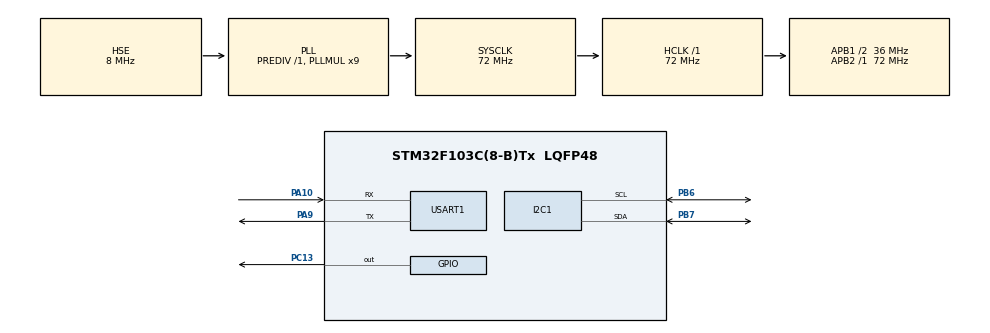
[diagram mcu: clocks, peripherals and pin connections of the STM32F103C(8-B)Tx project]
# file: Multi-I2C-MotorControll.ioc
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I2C1.I2C_Mode=I2C_Standard
Mcu.Family=STM32F1
Mcu.Name=STM32F103C(8-B)Tx
Mcu.Package=LQFP48
NVIC.I2C1_EV_IRQn=true\:0\:0\:false\:false\:true\:true\:true\:true
NVIC.PriorityGroup=NVIC_PRIORITYGROUP_4
PA10.Mode=Asynchronous
PA10.Signal=USART1_RX
PA9.Mode=Asynchronous
PA9.Signal=USART1_TX
PB6.Mode=I2C
PB6.Signal=I2C1_SCL
PB7.Mode=I2C
PB7.Signal=I2C1_SDA
PC13-TAMPER-RTC.Signal=GPIO_Output
PC14-OSC32_IN.Signal=RCC_OSC32_IN
PC15-OSC32_OUT.Signal=RCC_OSC32_OUT
PD0-OSC_IN.Mode=HSE-External-Oscillator
PD0-OSC_IN.Signal=RCC_OSC_IN
PD1-OSC_OUT.Mode=HSE-External-Oscillator
PD1-OSC_OUT.Signal=RCC_OSC_OUT
ProjectManager.HeapSize=0x200
ProjectManager.StackSize=0x400
ProjectManager.TargetToolchain=STM32CubeIDE
RCC.AHBFreq_Value=72000000
RCC.APB1CLKDivider=RCC_HCLK_DIV2
RCC.APB1Freq_Value=36000000
RCC.APB1TimFreq_Value=72000000
RCC.APB2Freq_Value=72000000
RCC.APB2TimFreq_Value=72000000
RCC.HCLKFreq_Value=72000000
RCC.PLLMUL=RCC_PLL_MUL9
RCC.PLLSourceVirtual=RCC_PLLSOURCE_HSE
RCC.SYSCLKFreq_VALUE=72000000
RCC.SYSCLKSource=RCC_SYSCLKSOURCE_PLLCLK
RCC.USBFreq_Value=72000000
USART1.VirtualMode=VM_ASYNC
VP_SYS_VS_ND.Mode=No_Debug
board=custom

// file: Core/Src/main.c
/* USER CODE BEGIN Header */
/**
  ******************************************************************************
  * @file           : main.c
  * @brief          : Main program body
  ******************************************************************************
  * @attention
  *
  * Copyright (c) 2026 STMicroelectronics.
  * All rights reserved.
  *
  * This software is licensed under terms that can be found in the LICENSE file
  * in the root directory of this software component.
  * If no LICENSE file comes with this software, it is provided AS-IS.
  *
  ******************************************************************************
  */
/* USER CODE END Header */
#include "main.h"
#include "i2c.h"
#include "usart.h"
#include "gpio.h"

/* USER CODE BEGIN Includes */
#include <string.h>
#include <stdio.h>
#include "ads1115.h"
#include "tca9548a.h"
#include "motoron.h"

//#include <strings.h>

/* USER CODE END Includes */

/* USER CODE BEGIN PV */

static const uint32_t TIMEOUT_I2C  = 50U;
static const uint32_t TIMEOUT_UART = 50U;

/* USER CODE END PV */

void SystemClock_Config(void);

int main(void)
{

  /* MCU Configuration--------------------------------------------------------*/

  /* Reset of all peripherals, Initializes the Flash interface and the Systick. */
  HAL_Init();

  /* Configure the system clock */
  SystemClock_Config();

  /* Initialize all configured peripherals */
  MX_GPIO_Init();
  MX_I2C1_Init();
  MX_USART1_UART_Init();
  /* USER CODE BEGIN 2 */

  char uart_tx[32];

  HAL_UART_Transmit(&huart1, (uint8_t*)"\r\nProgram Started!\r\n", strlen("\r\nProgram Started!\r\n"), 100);

  for (uint8_t addr = 1; addr < 128; addr++)
  {
      if (HAL_I2C_IsDeviceReady(&hi2c1, addr << 1, 2, 10) == HAL_OK)
      {
          sprintf(uart_tx, "\r\nI2C BUS Devices: 0x%02X\r\n", addr);
          HAL_UART_Transmit(&huart1, (uint8_t*)uart_tx, strlen(uart_tx), 100);
      }
  }

  HAL_Delay(2000);

  /* USER CODE END 2 */

  /* Infinite loop */
  /* USER CODE BEGIN WHILE */

  i2c_motoron(&hi2c1 , &huart1);
  hal_i2c_motoron_initialization(&hi2c1 , &huart1);

  float voltage = 0;
  int16_t adc_raw = 0;
  uint8_t i2c_rx_buff[2] = {0};

  PotResult pot_to_speed;

  while (1)
  {

	  char uart_tx_i2c[80];

	  HAL_StatusTypeDef status;

	  for(uint8_t mux_ch = 0; mux_ch < 8 ; mux_ch ++)
	  {
		  status = i2c_mux_module(&hi2c1 , &huart1 , MULPLXR_CH_MASK[0] , CH_I2C_TX_BUFF[0] ,
		  					  	  	  	  	  ADC_CONFIG_SIZE , ADC_RX_SIZE, i2c_rx_buff , 0);

		  if (status == HAL_OK)
		  {
			  pot_to_speed = potentiometer_to_speed(i2c_rx_buff);

			  i2c_motoron_motor_set(&hi2c1 , &huart1 ,  i2c_rx_buff , pot_to_speed.speed);
		  }

		  sprintf(uart_tx_i2c , "\n\rMux[%d] , ADC%d: 0x%04x , voltage: %.4f v" , mux_ch , 0  , pot_to_speed.adc_raw, pot_to_speed.voltage_mv / 1000.0);
		  HAL_UART_Transmit(&huart1, uart_tx_i2c, strlen(uart_tx_i2c), 100);

		  for(uint8_t adc_ch = 1; adc_ch < 4 ; adc_ch++)
		  {
				  status = i2c_mux_module(&hi2c1 , &huart1 , MULPLXR_CH_MASK[mux_ch] , CH_I2C_TX_BUFF[adc_ch] ,
										  ADC_CONFIG_SIZE , ADC_RX_SIZE, i2c_rx_buff , adc_ch);

				  if(status != HAL_OK)
				  {
	//				  snprintf(uart_tx_i2c ,  sizeof(uart_tx_i2c) , " \r\nMux[%d], ADC[%d] not working, Hal status: %d" , mux_ch , adc_ch, status);
	//				  HAL_UART_Transmit(&huart1, uart_tx_i2c, strlen(uart_tx_i2c), 50);
					  continue;
				  }

		  }

		  }

//			  HAL_Delay(10);

    /* USER CODE END WHILE */

  }
}

void SystemClock_Config(void)
{
  RCC_OscInitTypeDef RCC_OscInitStruct = {0};
  RCC_ClkInitTypeDef RCC_ClkInitStruct = {0};

  /** Initializes the RCC Oscillators according to the specified parameters
  * in the RCC_OscInitTypeDef structure.
  */
  RCC_OscInitStruct.OscillatorType = RCC_OSCILLATORTYPE_HSE;
  RCC_OscInitStruct.HSEState = RCC_HSE_ON;
  RCC_OscInitStruct.HSEPredivValue = RCC_HSE_PREDIV_DIV1;
  RCC_OscInitStruct.HSIState = RCC_HSI_ON;
  RCC_OscInitStruct.PLL.PLLState = RCC_PLL_ON;
  RCC_OscInitStruct.PLL.PLLSource = RCC_PLLSOURCE_HSE;
  RCC_OscInitStruct.PLL.PLLMUL = RCC_PLL_MUL9;
  if (HAL_RCC_OscConfig(&RCC_OscInitStruct) != HAL_OK)
  {
    Error_Handler();
  }

  /** Initializes the CPU, AHB and APB buses clocks
  */
  RCC_ClkInitStruct.ClockType = RCC_CLOCKTYPE_HCLK|RCC_CLOCKTYPE_SYSCLK
                              |RCC_CLOCKTYPE_PCLK1|RCC_CLOCKTYPE_PCLK2;
  RCC_ClkInitStruct.SYSCLKSource = RCC_SYSCLKSOURCE_PLLCLK;
  RCC_ClkInitStruct.AHBCLKDivider = RCC_SYSCLK_DIV1;
  RCC_ClkInitStruct.APB1CLKDivider = RCC_HCLK_DIV2;
  RCC_ClkInitStruct.APB2CLKDivider = RCC_HCLK_DIV1;

  if (HAL_RCC_ClockConfig(&RCC_ClkInitStruct, FLASH_LATENCY_2) != HAL_OK)
  {
    Error_Handler();
  }
}

void Error_Handler(void)
{
  __disable_irq();
  while (1)
  {
  }
}
